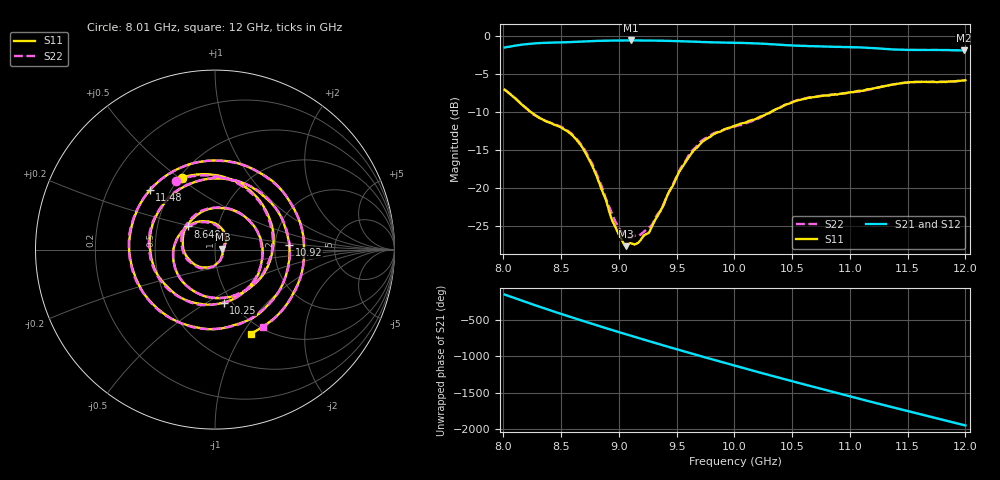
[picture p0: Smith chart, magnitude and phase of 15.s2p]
!Agilent Technologies,E8362C,MY49020356,A.09.42.23
!Agilent E8362C: A.09.42.23
!Date: Friday, November 08, 2024 19:39:37
!Correction: S11(Full 2 Port(1,2))
!S21(Full 2 Port(1,2))
!S12(Full 2 Port(1,2))
!S22(Full 2 Port(1,2))
!S2P File: Measurements: S11, S21, S12, S22:
# Hz S  RI  R 50
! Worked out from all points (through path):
!   801 points, 8.01 GHz to 12 GHz, reference 50 ohm
!   highest |S21| = -0.63 dB at 9.102 GHz (marker M1); lowest = -1.9 dB at 11.99 GHz (marker M2)
!   lowest |S11| = -27.7 dB at 9.062 GHz (marker M3), VSWR 1.09, Z = 54.3 + j0.331 ohm
!   |S11| at or under -10 dB: 8.232 GHz to 10.32 GHz (2.089 GHz wide, 22.5 % of centre)
!   |S22| runs from -26.6 to -5.9 dB; largest |S21 - S12| = 0.01
!   S11 on the Smith chart (normalised r, x): 8.01 GHz: 0.52, +0.51; 8.648 GHz: 0.71, +0.19; 10.25 GHz: 0.92, -0.59; 10.92 GHz: 2.40, +0.16; 11.48 GHz: 0.39, +0.34; 12 GHz: 0.86, -1.09
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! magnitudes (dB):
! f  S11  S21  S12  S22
! 8.01 GHz  -7.1  -1.6  -1.6  -7.1
! 8.259 GHz  -10.3  -1.0  -1.0  -10.4
! 8.524 GHz  -12.3  -0.9  -0.9  -12.2
! 8.648 GHz  -14.0  -0.8  -0.8  -13.8
! 8.678 GHz  -14.6  -0.8  -0.8  -14.4
! 8.798 GHz  -18.1  -0.7  -0.7  -17.9
! 8.973 GHz  -25.2  -0.6  -0.6  -24.5
! 9.062 GHz  -27.7  -0.6  -0.6  -26.2
! 9.102 GHz  -27.3  -0.6  -0.6  -26.6
! 9.252 GHz  -26.0  -0.6  -0.7  -25.3
! 9.342 GHz  -23.5  -0.7  -0.7  -23.3
! 9.516 GHz  -18.0  -0.7  -0.7  -18.0
! 9.631 GHz  -15.4  -0.8  -0.8  -15.2
! 9.81 GHz  -13.1  -0.9  -0.9  -12.9
! 10.01 GHz  -11.8  -0.9  -0.9  -11.9
! 10.25 GHz  -10.5  -1.1  -1.1  -10.5
! 10.67 GHz  -8.1  -1.4  -1.4  -8.1
! 10.92 GHz  -7.7  -1.5  -1.5  -7.7
! 11.34 GHz  -6.5  -1.8  -1.8  -6.5
! 11.48 GHz  -6.2  -1.9  -1.9  -6.2
! 11.99 GHz  -5.9  -1.9  -2.0  -5.9
! 12 GHz  -5.9  -1.9  -1.9  -5.9
